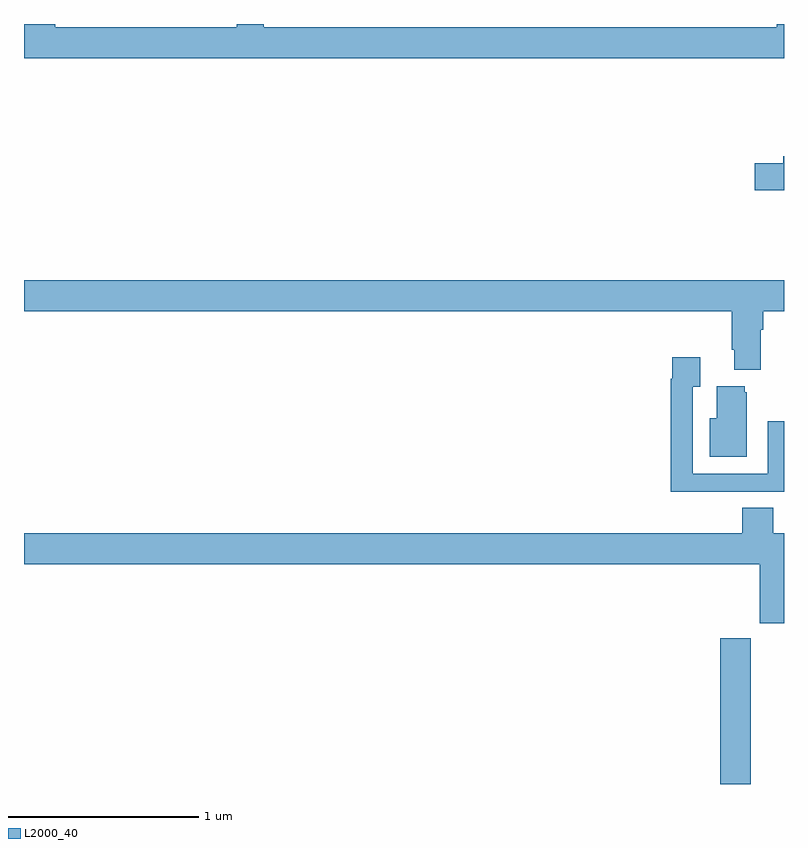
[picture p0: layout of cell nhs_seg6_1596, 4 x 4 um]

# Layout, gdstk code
import gdstk
lib = gdstk.Library(unit=1e-6, precision=1e-09)
def R(c, l, rs):  # rectangles x0, y0, x1, y1
    for r in rs: c.add(gdstk.rectangle(r[:2], r[2:], *l))
def P(c, l, *ps):  # polygons
    for p in ps: c.add(gdstk.Polygon(p, *l))
L2000_40 = (2000, 40)

nhs_seg6_1596 = lib.new_cell('nhs_seg6_1596')
R(nhs_seg6_1596, L2000_40, [(210.665,959.5,210.825,960.268)])
P(nhs_seg6_1596, L2000_40, [(211,963.5),(210.962,963.5),(210.962,963.484),(208.261,963.484),(208.261,963.5),(208.121,963.5),(208.121,963.484),(207.164,963.484),(207.164,963.5),(207,963.5),(207,963.32),(211,963.32)],
  [(211,962.804),(210.995,962.804),(210.995,962.768),(210.846,962.768),(210.846,962.626),(211,962.626)],
  [(210.877,961.892),(210.89,961.892),(210.89,961.988),(211,961.988),(211,962.152),(207,962.152),(207,961.988),(210.725,961.988),(210.725,961.786),(210.737,961.786),(210.737,961.679),(210.877,961.679)],
  [(210.695,961.038),(211,961.038),(211,961.408),(210.915,961.408),(210.915,961.134),(210.519,961.134),(210.519,961.591),(210.559,961.591),(210.559,961.747),(210.411,961.747),(210.411,961.634),(210.403,961.634),(210.403,961.037),(210.695,961.037)],
  [(210.805,961.563),(210.794,961.563),(210.794,961.594),(210.647,961.594),(210.647,961.426),(210.608,961.426),(210.608,961.223),(210.805,961.223)],
  [(211,960.82),(210.944,960.82),(210.944,960.953),(210.779,960.953),(210.779,960.82),(207,960.82),(207,960.656),(210.872,960.656),(210.872,960.347),(211,960.347)])

lib.write_gds('nhs_seg6_1596.gds')
